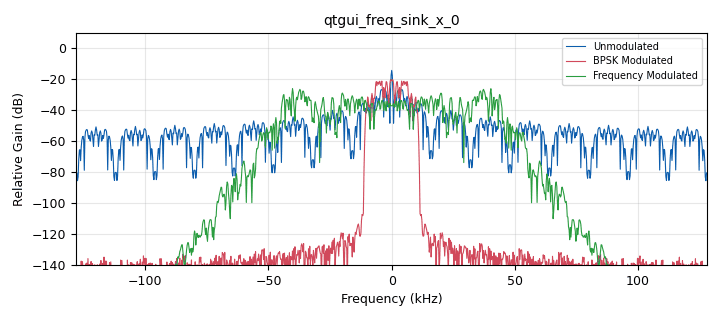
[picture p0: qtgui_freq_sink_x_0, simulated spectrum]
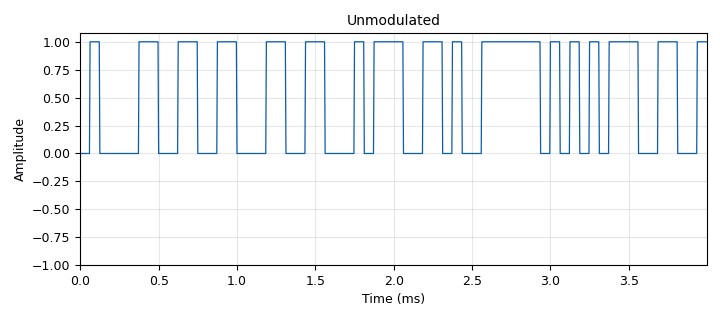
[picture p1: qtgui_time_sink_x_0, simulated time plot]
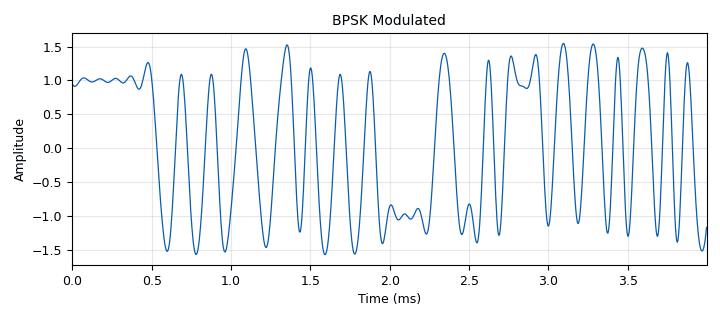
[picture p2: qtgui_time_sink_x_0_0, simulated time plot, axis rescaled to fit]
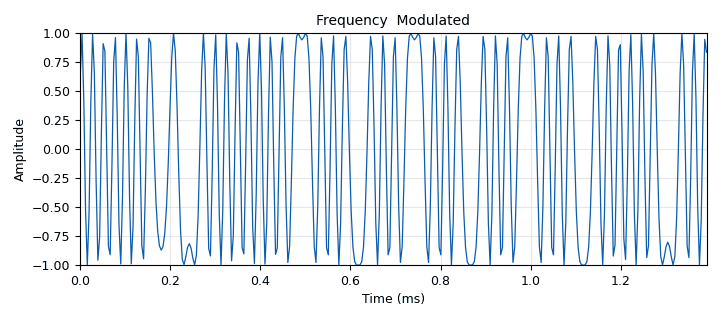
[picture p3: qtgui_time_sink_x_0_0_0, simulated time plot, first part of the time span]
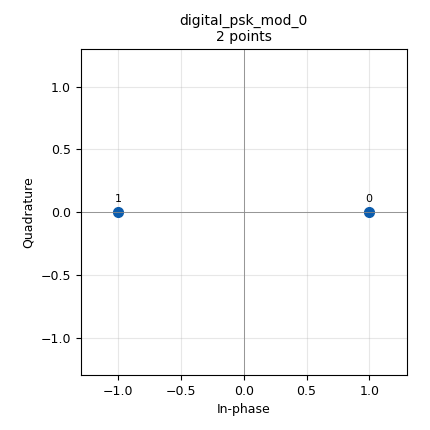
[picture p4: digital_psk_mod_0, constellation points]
<?xml version='1.0' encoding='utf-8'?>
<?grc format='1' created='3.7.13'?>
<flow_graph>
<block>
<key>options</key>
<param><key>id</key><value>top_block</value></param>
<param><key>generate_options</key><value>qt_gui</value></param>
</block>
<block>
<key>variable</key>
<param><key>id</key><value>constellation</value></param>
<param><key>comment</key><value>The constellation points of specific modulation.
For example BPSK is [-1, 1]</value></param>
<param><key>value</key><value>[-1+0j, +1+0j]</value></param>
</block>
<block>
<key>variable_qtgui_range</key>
<param><key>id</key><value>noise</value></param>
<param><key>value</key><value>0.0</value></param>
<param><key>gui_hint</key><value>[3, 0, 1, 2]</value></param>
<param><key>label</key><value>Noise Amplitude</value></param>
<param><key>orient</key><value>Qt.Horizontal</value></param>
<param><key>start</key><value>0</value></param>
<param><key>step</key><value>0.01</value></param>
<param><key>stop</key><value>1</value></param>
</block>
<block>
<key>variable</key>
<param><key>id</key><value>samp_rate</value></param>
<param><key>value</key><value>256000</value></param>
</block>
<block>
<key>variable</key>
<param><key>id</key><value>sps</value></param>
<param><key>value</key><value>16</value></param>
</block>
<block>
<key>analog_noise_source_x</key>
<param><key>id</key><value>analog_noise_source_x_0</value></param>
<param><key>amp</key><value>noise</value></param>
<param><key>noise_type</key><value>analog.GR_GAUSSIAN</value></param>
<param><key>type</key><value>float</value></param>
<param><key>seed</key><value>0</value></param>
</block>
<block>
<key>analog_random_source_x</key>
<param><key>id</key><value>analog_random_source_x_0_0</value></param>
<param><key>max</key><value>255</value></param>
<param><key>min</key><value>0</value></param>
<param><key>num_samps</key><value>1000</value></param>
<param><key>type</key><value>byte</value></param>
<param><key>repeat</key><value>True</value></param>
</block>
<block>
<key>blocks_add_xx</key>
<param><key>id</key><value>blocks_add_xx_0</value></param>
<param><key>type</key><value>float</value></param>
</block>
<block>
<key>blocks_add_xx</key>
<param><key>id</key><value>blocks_add_xx_0_0</value></param>
<param><key>type</key><value>float</value></param>
</block>
<block>
<key>blocks_add_xx</key>
<param><key>id</key><value>blocks_add_xx_0_0_0</value></param>
<param><key>type</key><value>float</value></param>
</block>
<block>
<key>blocks_char_to_float</key>
<param><key>id</key><value>blocks_char_to_float_0</value></param>
<param><key>scale</key><value>1</value></param>
</block>
<block>
<key>blocks_complex_to_real</key>
<param><key>id</key><value>blocks_complex_to_real_0</value></param>
<param><key>comment</key><value>We use the real part just to 
simplify the visualization</value></param>
</block>
<block>
<key>blocks_complex_to_real</key>
<param><key>id</key><value>blocks_complex_to_real_0_0</value></param>
<param><key>comment</key><value>We use the real part just to 
simplify the visualization</value></param>
</block>
<block>
<key>blocks_packed_to_unpacked_xx</key>
<param><key>id</key><value>blocks_packed_to_unpacked_xx_0</value></param>
<param><key>bits_per_chunk</key><value>1</value></param>
<param><key>endianness</key><value>gr.GR_MSB_FIRST</value></param>
<param><key>type</key><value>byte</value></param>
</block>
<block>
<key>blocks_repeat</key>
<param><key>id</key><value>blocks_repeat_0</value></param>
<param><key>interp</key><value>sps</value></param>
<param><key>type</key><value>float</value></param>
</block>
<block>
<key>blocks_throttle</key>
<param><key>id</key><value>blocks_throttle_0</value></param>
<param><key>samples_per_second</key><value>samp_rate</value></param>
<param><key>type</key><value>byte</value></param>
</block>
<block>
<key>digital_gfsk_mod</key>
<param><key>id</key><value>digital_gfsk_mod_0</value></param>
<param><key>bt</key><value>0.35</value></param>
<param><key>samples_per_symbol</key><value>sps</value></param>
<param><key>sensitivity</key><value>1.0</value></param>
</block>
<block>
<key>digital_psk_mod</key>
<param><key>id</key><value>digital_psk_mod_0</value></param>
<param><key>differential</key><value>False</value></param>
<param><key>excess_bw</key><value>0.35</value></param>
<param><key>mod_code</key><value>"none"</value></param>
<param><key>constellation_points</key><value>2</value></param>
<param><key>samples_per_symbol</key><value>sps</value></param>
</block>
<block>
<key>qtgui_freq_sink_x</key>
<param><key>id</key><value>qtgui_freq_sink_x_0</value></param>
<param><key>bw</key><value>samp_rate</value></param>
<param><key>fc</key><value>0</value></param>
<param><key>fftsize</key><value>1024</value></param>
<param><key>gui_hint</key><value>[0, 1, 3, 1]</value></param>
<param><key>label1</key><value>Unmodulated</value></param>
<param><key>width1</key><value>2</value></param>
<param><key>label2</key><value>BPSK Modulated</value></param>
<param><key>width2</key><value>2</value></param>
<param><key>label3</key><value>Frequency Modulated</value></param>
<param><key>width3</key><value>2</value></param>
<param><key>nconnections</key><value>3</value></param>
<param><key>showports</key><value>True</value></param>
<param><key>type</key><value>float</value></param>
<param><key>wintype</key><value>firdes.WIN_BLACKMAN_hARRIS</value></param>
</block>
<block>
<key>qtgui_time_sink_x</key>
<param><key>id</key><value>qtgui_time_sink_x_0</value></param>
<param><key>gui_hint</key><value>[0, 0]</value></param>
<param><key>color1</key><value>"blue"</value></param>
<param><key>label1</key><value></value></param>
<param><key>name</key><value>"Unmodulated"</value></param>
<param><key>size</key><value>1024</value></param>
<param><key>srate</key><value>samp_rate</value></param>
<param><key>type</key><value>float</value></param>
</block>
<block>
<key>qtgui_time_sink_x</key>
<param><key>id</key><value>qtgui_time_sink_x_0_0</value></param>
<param><key>gui_hint</key><value>[1, 0]</value></param>
<param><key>color1</key><value>"blue"</value></param>
<param><key>label1</key><value></value></param>
<param><key>name</key><value>"BPSK Modulated"</value></param>
<param><key>size</key><value>1024</value></param>
<param><key>srate</key><value>samp_rate</value></param>
<param><key>type</key><value>float</value></param>
</block>
<block>
<key>qtgui_time_sink_x</key>
<param><key>id</key><value>qtgui_time_sink_x_0_0_0</value></param>
<param><key>gui_hint</key><value>[2, 0]</value></param>
<param><key>color1</key><value>"blue"</value></param>
<param><key>label1</key><value></value></param>
<param><key>name</key><value>"Frequency  Modulated"</value></param>
<param><key>size</key><value>1024</value></param>
<param><key>srate</key><value>samp_rate</value></param>
<param><key>type</key><value>float</value></param>
</block>
<connection><source_block_id>analog_noise_source_x_0</source_block_id><sink_block_id>blocks_add_xx_0</sink_block_id><source_key>0</source_key><sink_key>1</sink_key></connection>
<connection><source_block_id>analog_noise_source_x_0</source_block_id><sink_block_id>blocks_add_xx_0_0</sink_block_id><source_key>0</source_key><sink_key>1</sink_key></connection>
<connection><source_block_id>analog_noise_source_x_0</source_block_id><sink_block_id>blocks_add_xx_0_0_0</sink_block_id><source_key>0</source_key><sink_key>1</sink_key></connection>
<connection><source_block_id>analog_random_source_x_0_0</source_block_id><sink_block_id>blocks_packed_to_unpacked_xx_0</sink_block_id><source_key>0</source_key><sink_key>0</sink_key></connection>
<connection><source_block_id>analog_random_source_x_0_0</source_block_id><sink_block_id>blocks_throttle_0</sink_block_id><source_key>0</source_key><sink_key>0</sink_key></connection>
<connection><source_block_id>blocks_add_xx_0</source_block_id><sink_block_id>qtgui_freq_sink_x_0</sink_block_id><source_key>0</source_key><sink_key>2</sink_key></connection>
<connection><source_block_id>blocks_add_xx_0</source_block_id><sink_block_id>qtgui_time_sink_x_0_0_0</sink_block_id><source_key>0</source_key><sink_key>0</sink_key></connection>
<connection><source_block_id>blocks_add_xx_0_0</source_block_id><sink_block_id>qtgui_freq_sink_x_0</sink_block_id><source_key>0</source_key><sink_key>1</sink_key></connection>
<connection><source_block_id>blocks_add_xx_0_0</source_block_id><sink_block_id>qtgui_time_sink_x_0_0</sink_block_id><source_key>0</source_key><sink_key>0</sink_key></connection>
<connection><source_block_id>blocks_add_xx_0_0_0</source_block_id><sink_block_id>qtgui_freq_sink_x_0</sink_block_id><source_key>0</source_key><sink_key>0</sink_key></connection>
<connection><source_block_id>blocks_add_xx_0_0_0</source_block_id><sink_block_id>qtgui_time_sink_x_0</sink_block_id><source_key>0</source_key><sink_key>0</sink_key></connection>
<connection><source_block_id>blocks_char_to_float_0</source_block_id><sink_block_id>blocks_repeat_0</sink_block_id><source_key>0</source_key><sink_key>0</sink_key></connection>
<connection><source_block_id>blocks_complex_to_real_0</source_block_id><sink_block_id>blocks_add_xx_0_0</sink_block_id><source_key>0</source_key><sink_key>0</sink_key></connection>
<connection><source_block_id>blocks_complex_to_real_0_0</source_block_id><sink_block_id>blocks_add_xx_0</sink_block_id><source_key>0</source_key><sink_key>0</sink_key></connection>
<connection><source_block_id>blocks_packed_to_unpacked_xx_0</source_block_id><sink_block_id>blocks_char_to_float_0</sink_block_id><source_key>0</source_key><sink_key>0</sink_key></connection>
<connection><source_block_id>blocks_repeat_0</source_block_id><sink_block_id>blocks_add_xx_0_0_0</sink_block_id><source_key>0</source_key><sink_key>0</sink_key></connection>
<connection><source_block_id>blocks_throttle_0</source_block_id><sink_block_id>digital_gfsk_mod_0</sink_block_id><source_key>0</source_key><sink_key>0</sink_key></connection>
<connection><source_block_id>blocks_throttle_0</source_block_id><sink_block_id>digital_psk_mod_0</sink_block_id><source_key>0</source_key><sink_key>0</sink_key></connection>
<connection><source_block_id>digital_gfsk_mod_0</source_block_id><sink_block_id>blocks_complex_to_real_0_0</sink_block_id><source_key>0</source_key><sink_key>0</sink_key></connection>
<connection><source_block_id>digital_psk_mod_0</source_block_id><sink_block_id>blocks_complex_to_real_0</sink_block_id><source_key>0</source_key><sink_key>0</sink_key></connection>
</flow_graph>
